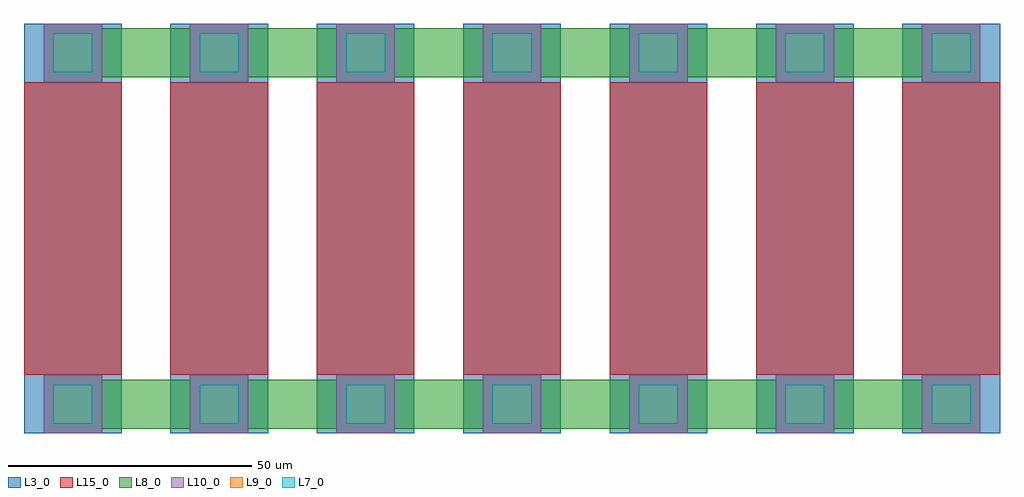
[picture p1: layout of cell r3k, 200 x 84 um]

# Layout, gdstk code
import gdstk
lib = gdstk.Library(unit=1e-6, precision=1e-09)
def R(c, l, rs):  # rectangles x0, y0, x1, y1
    for r in rs: c.add(gdstk.rectangle(r[:2], r[2:], *l))
L3_0 = (3, 0)
L7_0 = (7, 0)
L8_0 = (8, 0)
L9_0 = (9, 0)
L10_0 = (10, 0)
L15_0 = (15, 0)

r_diff = lib.new_cell('R_diff')
R(r_diff, L3_0, [(0,0,12,12), (0,72,12,84)])
R(r_diff, L7_0, [(2,2,10,10), (2,74,10,82)])
R(r_diff, L8_0, [(0,0,12,12), (0,0,12,12), (0,72,12,84), (0,72,12,84)])
R(r_diff, L9_0, [(2,2,10,10), (2,74,10,82)])
R(r_diff, L10_0, [(0,0,12,12), (0,72,12,84)])
r_diff.add(gdstk.FlexPath([(6,0),(6,84)], 20, ends="flush", simple_path=True, layer=3, datatype=0))  # L3_0
r_diff.add(gdstk.FlexPath([(6,12),(6,72)], 20, ends="flush", simple_path=True, layer=15, datatype=0))  # L15_0

r3k = lib.new_cell('r3k')
r3k.add(gdstk.FlexPath([(10,77.5),(190.5,77.5),(190.5,74)], 10, ends="flush", simple_path=True, layer=8, datatype=0))  # L8_0
r3k.add(gdstk.FlexPath([(10,5.5),(190.5,5.5)], 10, ends="flush", simple_path=True, layer=8, datatype=0))  # L8_0
r3k.add(gdstk.Reference(r_diff, (4,-0.5)))
r3k.add(gdstk.Reference(r_diff, (34,-0.5)))
r3k.add(gdstk.Reference(r_diff, (64,-0.5)))
r = gdstk.Reference(r_diff, (94,-0.5)); r.repetition = gdstk.Repetition(1, 1, v1=(0,0), v2=(0,0)); r3k.add(r)
r = gdstk.Reference(r_diff, (124,-0.5)); r.repetition = gdstk.Repetition(1, 1, v1=(0,0), v2=(0,0)); r3k.add(r)
r = gdstk.Reference(r_diff, (154,-0.5)); r.repetition = gdstk.Repetition(1, 1, v1=(0,0), v2=(0,0)); r3k.add(r)
r = gdstk.Reference(r_diff, (184,-0.5)); r.repetition = gdstk.Repetition(1, 1, v1=(0,0), v2=(0,0)); r3k.add(r)

lib.write_gds('r3k.gds')
